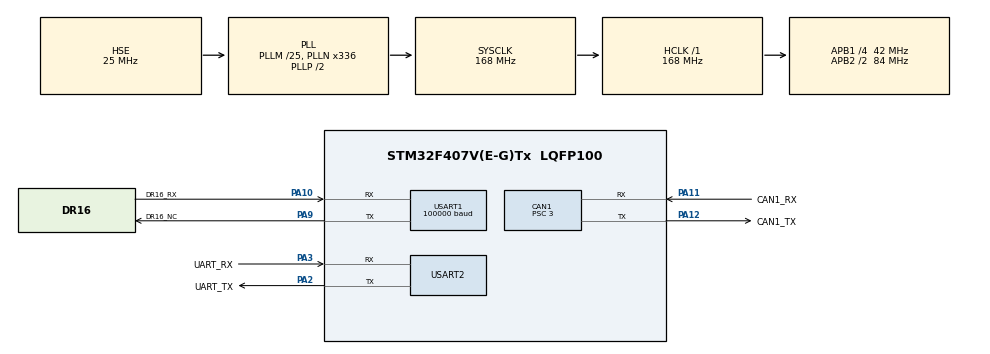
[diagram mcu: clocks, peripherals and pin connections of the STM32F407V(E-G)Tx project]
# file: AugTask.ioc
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CAN1.BS1=CAN_BS1_10TQ
CAN1.BS2=CAN_BS2_3TQ
CAN1.CalculateBaudRate=1000000
CAN1.CalculateTimeBit=999.99
CAN1.CalculateTimeQuantum=71.42857142857143
CAN1.Prescaler=3
Dma.Request0=USART1_RX
Dma.USART1_RX.0.Direction=DMA_PERIPH_TO_MEMORY
Dma.USART1_RX.0.FIFOMode=DMA_FIFOMODE_DISABLE
Dma.USART1_RX.0.Instance=DMA2_Stream2
Dma.USART1_RX.0.MemDataAlignment=DMA_MDATAALIGN_BYTE
Dma.USART1_RX.0.MemInc=DMA_MINC_ENABLE
Dma.USART1_RX.0.Mode=DMA_CIRCULAR
Dma.USART1_RX.0.PeriphDataAlignment=DMA_PDATAALIGN_BYTE
Dma.USART1_RX.0.PeriphInc=DMA_PINC_DISABLE
Dma.USART1_RX.0.Priority=DMA_PRIORITY_VERY_HIGH
FREERTOS.Queues01=MsgToCM,16,uint32_t,0,Dynamic,NULL,NULL
FREERTOS.Tasks01=Message,0,128,taskMessage,Default,NULL,Dynamic,NULL,NULL;ChassisMotor,3,512,taskChassisMotor,Default,NULL,Dynamic,NULL,NULL
Mcu.Family=STM32F4
Mcu.Name=STM32F407V(E-G)Tx
Mcu.Package=LQFP100
NVIC.CAN1_RX0_IRQn=true\:5\:0\:false\:false\:true\:true\:true\:true
NVIC.CAN1_TX_IRQn=true\:5\:0\:true\:false\:true\:true\:true\:true
NVIC.DMA2_Stream2_IRQn=true\:5\:0\:false\:false\:true\:true\:false\:true
NVIC.PriorityGroup=NVIC_PRIORITYGROUP_4
NVIC.TIM6_DAC_IRQn=true\:0\:0\:false\:false\:true\:false\:false\:true
NVIC.TIM8_TRG_COM_TIM14_IRQn=true\:5\:0\:false\:false\:true\:true\:true\:true
NVIC.TimeBase=TIM6_DAC_IRQn
NVIC.TimeBaseIP=TIM6
NVIC.USART1_IRQn=true\:0\:0\:true\:false\:true\:false\:true\:true
NVIC.USART2_IRQn=true\:0\:0\:true\:false\:true\:false\:true\:true
PA10.GPIO_Label=DR16_RX
PA10.Mode=Asynchronous
PA10.Signal=USART1_RX
PA11.GPIO_Label=CAN1_RX
PA11.Mode=CAN_Activate
PA11.Signal=CAN1_RX
PA12.GPIO_Label=CAN1_TX
PA12.Mode=CAN_Activate
PA12.Signal=CAN1_TX
PA13.Mode=Serial_Wire
PA13.Signal=SYS_JTMS-SWDIO
PA14.Mode=Serial_Wire
PA14.Signal=SYS_JTCK-SWCLK
PA2.GPIO_Label=UART_TX
PA2.Mode=Asynchronous
PA2.Signal=USART2_TX
PA3.GPIO_Label=UART_RX
PA3.Mode=Asynchronous
PA3.Signal=USART2_RX
PA9.GPIO_Label=DR16_NC
PA9.Mode=Asynchronous
PA9.Signal=USART1_TX
PH0-OSC_IN.Mode=HSE-External-Oscillator
PH0-OSC_IN.Signal=RCC_OSC_IN
PH1-OSC_OUT.Mode=HSE-External-Oscillator
PH1-OSC_OUT.Signal=RCC_OSC_OUT
ProjectManager.HeapSize=0x200
ProjectManager.StackSize=0x400
ProjectManager.TargetToolchain=MDK-ARM V5.27
RCC.48MHZClocksFreq_Value=84000000
RCC.AHBFreq_Value=168000000
RCC.APB1CLKDivider=RCC_HCLK_DIV4
RCC.APB1Freq_Value=42000000
RCC.APB1TimFreq_Value=84000000
RCC.APB2CLKDivider=RCC_HCLK_DIV2
RCC.APB2Freq_Value=84000000
RCC.APB2TimFreq_Value=168000000
RCC.CortexFreq_Value=168000000
RCC.HCLKFreq_Value=168000000
RCC.HSE_VALUE=25000000
RCC.HSI_VALUE=16000000
RCC.LSE_VALUE=32768
RCC.PLLM=25
RCC.PLLN=336
RCC.PLLSourceVirtual=RCC_PLLSOURCE_HSE
RCC.SYSCLKFreq_VALUE=168000000
RCC.SYSCLKSource=RCC_SYSCLKSOURCE_PLLCLK
RCC.VCOOutputFreq_Value=336000000
TIM14.Period=2500-1
TIM14.Prescaler=8400-1
USART1.BaudRate=100000
USART1.Mode=MODE_RX
USART1.Parity=PARITY_EVEN
USART1.VirtualMode=VM_ASYNC
USART1.WordLength=WORDLENGTH_9B
USART2.VirtualMode=VM_ASYNC
VP_FREERTOS_VS_CMSIS_V1.Mode=CMSIS_V1
VP_SYS_VS_tim6.Mode=TIM6
VP_TIM14_VS_ClockSourceINT.Mode=Enable_Timer
board=custom

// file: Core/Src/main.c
/* USER CODE BEGIN Header */
/**
  ******************************************************************************
  * @file           : main.c
  * @brief          : Main program body
  ******************************************************************************
  * @attention
  *
  * <h2><center>&copy; Copyright (c) 2021 STMicroelectronics.
  * All rights reserved.</center></h2>
  *
  * This software component is licensed by ST under Ultimate Liberty license
  * SLA0044, the "License"; You may not use this file except in compliance with
  * the License. You may obtain a copy of the License at:
  *                             www.st.com/SLA0044
  *
  ******************************************************************************
  */
/* USER CODE END Header */
#include "main.h"
#include "cmsis_os.h"
#include "can.h"
#include "dma.h"
#include "tim.h"
#include "usart.h"
#include "gpio.h"

/* USER CODE BEGIN Includes */
#include <string.h>
/* USER CODE END Includes */

/* USER CODE BEGIN PV */
extern uint8_t uart1_buf[18];
/* USER CODE END PV */

void SystemClock_Config(void);
void MX_FREERTOS_Init(void);

int main(void)
{

  /* MCU Configuration--------------------------------------------------------*/

  /* Reset of all peripherals, Initializes the Flash interface and the Systick. */
  HAL_Init();

  /* Configure the system clock */
  SystemClock_Config();

  /* Initialize all configured peripherals */
  MX_GPIO_Init();
  MX_DMA_Init();
  MX_CAN1_Init();
  MX_USART1_UART_Init();
  MX_TIM14_Init();
  MX_USART2_UART_Init();
  /* USER CODE BEGIN 2 */
	TIM14_START();
	UART1_RemoteStart();
	CAN1_FilterInit();
  /* USER CODE END 2 */

  /* Call init function for freertos objects (in freertos.c) */
  MX_FREERTOS_Init();
  /* Start scheduler */
  osKernelStart();

  /* We should never get here as control is now taken by the scheduler */
  /* Infinite loop */
  while (1)
  {

  }
}

void SystemClock_Config(void)
{
  RCC_OscInitTypeDef RCC_OscInitStruct = {0};
  RCC_ClkInitTypeDef RCC_ClkInitStruct = {0};

  /** Configure the main internal regulator output voltage
  */
  __HAL_RCC_PWR_CLK_ENABLE();
  __HAL_PWR_VOLTAGESCALING_CONFIG(PWR_REGULATOR_VOLTAGE_SCALE1);
  /** Initializes the RCC Oscillators according to the specified parameters
  * in the RCC_OscInitTypeDef structure.
  */
  RCC_OscInitStruct.OscillatorType = RCC_OSCILLATORTYPE_HSE;
  RCC_OscInitStruct.HSEState = RCC_HSE_ON;
  RCC_OscInitStruct.PLL.PLLState = RCC_PLL_ON;
  RCC_OscInitStruct.PLL.PLLSource = RCC_PLLSOURCE_HSE;
  RCC_OscInitStruct.PLL.PLLM = 25;
  RCC_OscInitStruct.PLL.PLLN = 336;
  RCC_OscInitStruct.PLL.PLLP = RCC_PLLP_DIV2;
  RCC_OscInitStruct.PLL.PLLQ = 4;
  if (HAL_RCC_OscConfig(&RCC_OscInitStruct) != HAL_OK)
  {
    Error_Handler();
  }
  /** Initializes the CPU, AHB and APB buses clocks
  */
  RCC_ClkInitStruct.ClockType = RCC_CLOCKTYPE_HCLK|RCC_CLOCKTYPE_SYSCLK
                              |RCC_CLOCKTYPE_PCLK1|RCC_CLOCKTYPE_PCLK2;
  RCC_ClkInitStruct.SYSCLKSource = RCC_SYSCLKSOURCE_PLLCLK;
  RCC_ClkInitStruct.AHBCLKDivider = RCC_SYSCLK_DIV1;
  RCC_ClkInitStruct.APB1CLKDivider = RCC_HCLK_DIV4;
  RCC_ClkInitStruct.APB2CLKDivider = RCC_HCLK_DIV2;

  if (HAL_RCC_ClockConfig(&RCC_ClkInitStruct, FLASH_LATENCY_5) != HAL_OK)
  {
    Error_Handler();
  }
}

 /**
  * @brief  Period elapsed callback in non blocking mode
  * @note   This function is called  when TIM6 interrupt took place, inside
  * HAL_TIM_IRQHandler(). It makes a direct call to HAL_IncTick() to increment
  * a global variable "uwTick" used as application time base.
  * @param  htim : TIM handle
  * @retval None
  */
void HAL_TIM_PeriodElapsedCallback(TIM_HandleTypeDef *htim)
{
  if (htim->Instance == TIM6) {
    HAL_IncTick();
  }
  /* USER CODE BEGIN Callback 1 */
	if (htim->Instance == TIM14) {
    Observer.Tx = Observer.Rx;
    memset(&Observer.Rx,0,sizeof(rate_t));
  }
  /* USER CODE END Callback 1 */
}

void Error_Handler(void)
{
  __disable_irq();
  while (1)
  {
  }
}

/************************ (C) COPYRIGHT STMicroelectronics *****END OF FILE****/

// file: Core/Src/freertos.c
/* USER CODE BEGIN Header */
/**
  ******************************************************************************
  * File Name          : freertos.c
  * Description        : Code for freertos applications
  ******************************************************************************
  * @attention
  *
  * <h2><center>&copy; Copyright (c) 2021 STMicroelectronics.
  * All rights reserved.</center></h2>
  *
  * This software component is licensed by ST under Ultimate Liberty license
  * SLA0044, the "License"; You may not use this file except in compliance with
  * the License. You may obtain a copy of the License at:
  *                             www.st.com/SLA0044
  *
  ******************************************************************************
  */
/* USER CODE END Header */

#include "FreeRTOS.h"
#include "task.h"
#include "main.h"
#include "cmsis_os.h"

/* USER CODE BEGIN Includes */
#include "usart.h"
#include "message.h"
#include "motor_chassis.h"
#include "can.h"
/* USER CODE END Includes */

/* USER CODE BEGIN Variables */
osEvent evt;
/* USER CODE END Variables */
osThreadId MessageHandle;
osThreadId ChassisMotorHandle;
osMessageQId MsgToCMHandle;

void taskMessage(void const * argument);
void taskChassisMotor(void const * argument);

void MX_FREERTOS_Init(void); /* (MISRA C 2004 rule 8.1) */

/* GetIdleTaskMemory prototype (linked to static allocation support) */
void vApplicationGetIdleTaskMemory( StaticTask_t **ppxIdleTaskTCBBuffer, StackType_t **ppxIdleTaskStackBuffer, uint32_t *pulIdleTaskStackSize );

/* USER CODE BEGIN GET_IDLE_TASK_MEMORY */
static StaticTask_t xIdleTaskTCBBuffer;
static StackType_t xIdleStack[configMINIMAL_STACK_SIZE];

void vApplicationGetIdleTaskMemory( StaticTask_t **ppxIdleTaskTCBBuffer, StackType_t **ppxIdleTaskStackBuffer, uint32_t *pulIdleTaskStackSize )
{
  *ppxIdleTaskTCBBuffer = &xIdleTaskTCBBuffer;
  *ppxIdleTaskStackBuffer = &xIdleStack[0];
  *pulIdleTaskStackSize = configMINIMAL_STACK_SIZE;
  /* place for user code */
}
/* USER CODE END GET_IDLE_TASK_MEMORY */

void MX_FREERTOS_Init(void) {

  /* Create the queue(s) */
  /* definition and creation of MsgToCM */
  osMessageQDef(MsgToCM, 16, uint32_t);
  MsgToCMHandle = osMessageCreate(osMessageQ(MsgToCM), NULL);

  /* Create the thread(s) */
  /* definition and creation of Message */
  osThreadDef(Message, taskMessage, osPriorityNormal, 0, 128);
  MessageHandle = osThreadCreate(osThread(Message), NULL);

  /* definition and creation of ChassisMotor */
  osThreadDef(ChassisMotor, taskChassisMotor, osPriorityRealtime, 0, 512);
  ChassisMotorHandle = osThreadCreate(osThread(ChassisMotor), NULL);

}

void taskMessage(void const * argument)
{
  /* USER CODE BEGIN taskMessage */
  /* Infinite loop */
  for(;;)
  {
      RemoteData_t RDMsg;
      RemoteDataMsg_Process(&RDMsg);
      osMessagePut(MsgToCMHandle, (uint32_t)&RDMsg, 0);
      osDelay(10);
  }
  /* USER CODE END taskMessage */
}

void taskChassisMotor(void const * argument)
{
  /* USER CODE BEGIN taskChassisMotor */
	RemoteData_t *RDMsg;
  Motor_Chassis_Init();
  /* Infinite loop */
  for(;;)
  {
		 evt = osMessageGet(MsgToCMHandle,0);
     if(evt.status == osEventMessage)
     {
        RDMsg = (RemoteData_t*)evt.value.v;
     }
		 Chassis_Process(*RDMsg);
    osDelay(5);
  }
  /* USER CODE END taskChassisMotor */
}

/************************ (C) COPYRIGHT STMicroelectronics *****END OF FILE****/
